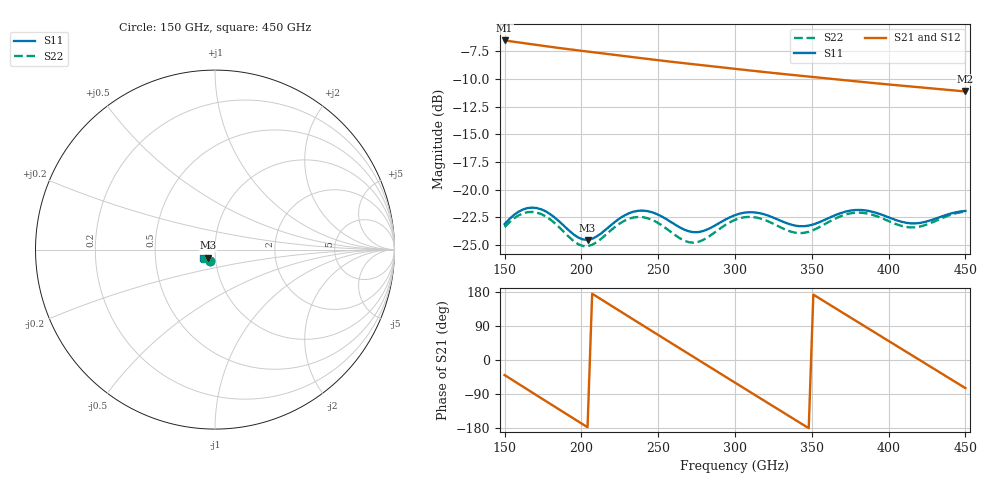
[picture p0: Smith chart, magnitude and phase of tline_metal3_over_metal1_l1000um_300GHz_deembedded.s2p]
! Created with skrf 2.2.0 (http://scikit-rf.org).
# GHz S DB R 50.0
! Port[1] = P1
! Port[2] = P2
!freq dBS11 angS11 dBS21 angS21 dBS12 angS12 dBS22 angS22
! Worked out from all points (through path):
!   101 points, 150 GHz to 450 GHz, reference 50 ohm
!   highest |S21| = -6.51 dB at 150 GHz (marker M1); lowest = -11.1 dB at 450 GHz (marker M2)
!   group delay of S21, straight-line fit = 6.98 ps
!   lowest |S11| = -24.5 dB at 204 GHz (marker M3), VSWR 1.13, Z = 46.1 - j4.13 ohm
!   |S11| at or under -10 dB: start of sweep to end of sweep
!   |S22| runs from -25.1 to -22.0 dB; largest |S21 - S12| = 6.6e-14
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150  -23.10 -112.1  -6.51 -39.7  -6.51 -39.7  -23.36 -114.1
162  -21.78 -120.3  -6.74 -70.5  -6.74 -70.5  -22.13 -122.0
174  -21.78 -131.5  -6.97 -101.2  -6.97 -101.2  -22.21 -133.0
189  -23.31 -139.1  -7.25 -139.4  -7.25 -139.4  -23.87 -140.1
201  -24.49 -133.7  -7.46 -169.8  -7.46 -169.8  -25.08 -133.7
204  -24.53 -131.2  -7.51 -177.5  -7.51 -177.5  -25.10 -131.1
216  -23.58 -124.6  -7.71 152.1  -7.71 152.1  -24.05 -124.4
231  -22.12 -129.1  -7.97 114.1  -7.97 114.1  -22.62 -129.6
240  -21.88 -135.0  -8.13 91.3  -8.13 91.3  -22.48 -135.8
252  -22.39 -141.7  -8.33 61.0  -8.33 61.0  -23.18 -142.3
264  -23.40 -142.6  -8.52 30.8  -8.52 30.8  -24.38 -141.6
276  -23.83 -137.1  -8.70 0.6  -8.70 0.6  -24.72 -133.8
288  -23.15 -132.9  -8.89 -29.6  -8.89 -29.6  -23.73 -129.0
300  -22.29 -135.0  -9.07 -59.7  -9.07 -59.7  -22.72 -131.9
321  -22.31 -143.7  -9.39 -112.4  -9.39 -112.4  -22.82 -141.6
336  -23.13 -143.9  -9.60 -149.9  -9.60 -149.9  -23.77 -141.0
351  -23.13 -138.6  -9.81 172.5  -9.81 172.5  -23.65 -134.3
366  -22.25 -138.0  -10.02 135.0  -10.02 135.0  -22.55 -133.8
378  -21.84 -141.9  -10.19 105.1  -10.19 105.1  -22.08 -138.3
402  -22.60 -147.7  -10.51 45.3  -10.51 45.3  -22.95 -144.5
426  -22.82 -141.5  -10.81 -14.5  -10.81 -14.5  -23.09 -136.8
450  -21.92 -143.9  -11.12 -74.2  -11.12 -74.2  -21.98 -139.4
